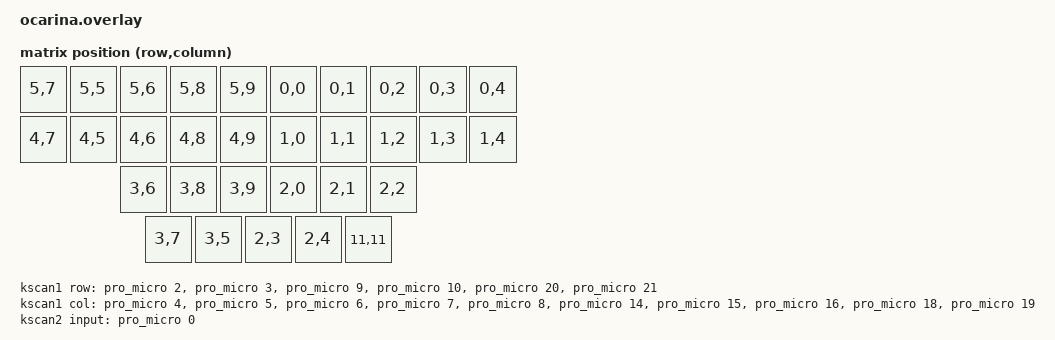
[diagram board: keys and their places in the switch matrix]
#include <dt-bindings/zmk/matrix_transform.h>
#include "ocarina-layouts.dtsi"

/ {
    chosen {
        zmk,physical-layout = &ocarina_physical_layout;
    };
};

/ {
    kscan0: kscan_composite {
        compatible = "zmk,kscan-composite";
        rows = <6>;
        columns = <10>;

        // Include the matrix driver
        matrix {
            kscan = <&kscan1>;
        };

        // Include the direct driver...
        direct {
            kscan = <&kscan2>;
            row-offset = <11>; // ...and shift it to not overlap
    	    col-offset = <11>;
        };
    };

    kscan1: kscan-matrix {
        compatible = "zmk,kscan-gpio-matrix";
        wakeup-source;

	diode-direction = "col2row";

	col-gpios
            = <&pro_micro 4 GPIO_ACTIVE_HIGH> //0
            , <&pro_micro 5 GPIO_ACTIVE_HIGH> //1
            , <&pro_micro 6 GPIO_ACTIVE_HIGH> //2
            , <&pro_micro 7 GPIO_ACTIVE_HIGH> //3
            , <&pro_micro 8 GPIO_ACTIVE_HIGH> //4
            , <&pro_micro 14 GPIO_ACTIVE_HIGH>//5
            , <&pro_micro 15 GPIO_ACTIVE_HIGH>//6
            , <&pro_micro 16 GPIO_ACTIVE_HIGH>//7
            , <&pro_micro 18 GPIO_ACTIVE_HIGH>//8
            , <&pro_micro 19 GPIO_ACTIVE_HIGH>//9
            ;

        row-gpios
            = <&pro_micro 2 (GPIO_ACTIVE_HIGH | GPIO_PULL_DOWN)> //0
            , <&pro_micro 3 (GPIO_ACTIVE_HIGH | GPIO_PULL_DOWN)> //1
            , <&pro_micro 9 (GPIO_ACTIVE_HIGH | GPIO_PULL_DOWN)> //2
            , <&pro_micro 10 (GPIO_ACTIVE_HIGH | GPIO_PULL_DOWN)>//3
            , <&pro_micro 20 (GPIO_ACTIVE_HIGH | GPIO_PULL_DOWN)>//4
            , <&pro_micro 21 (GPIO_ACTIVE_HIGH | GPIO_PULL_DOWN)>//5
            ;
        };
	
	
    kscan2: kscan_direct {
        compatible = "zmk,kscan-gpio-direct";
        wakeup-source;
        input-gpios
            = <&pro_micro 0 (GPIO_ACTIVE_HIGH | GPIO_PULL_UP)> // 0 but 11 after shift
            ;
    };

};



/ {
    default_transform: keymap_transform0 {
        compatible = "zmk,matrix-transform";
        columns = <10>; // Length of the "col-gpios" array
        rows = <6>; // Length of the "row-gpios" array
        map = <
            RC(5,7) RC(5,5) RC(5,6) RC(5,8) RC(5,9) RC(0,0) RC(0,1) RC(0,2) RC(0,3) RC(0,4)
	    RC(4,7) RC(4,5) RC(4,6) RC(4,8) RC(4,9) RC(1,0) RC(1,1) RC(1,2) RC(1,3) RC(1,4)
	    RC(3,6) RC(3,8) RC(3,9) RC(2,0) RC(2,1) RC(2,2)
	    RC(3,7) RC(3,5) RC(2,3) RC(2,4) RC(11,11)
        >;
    };
};
